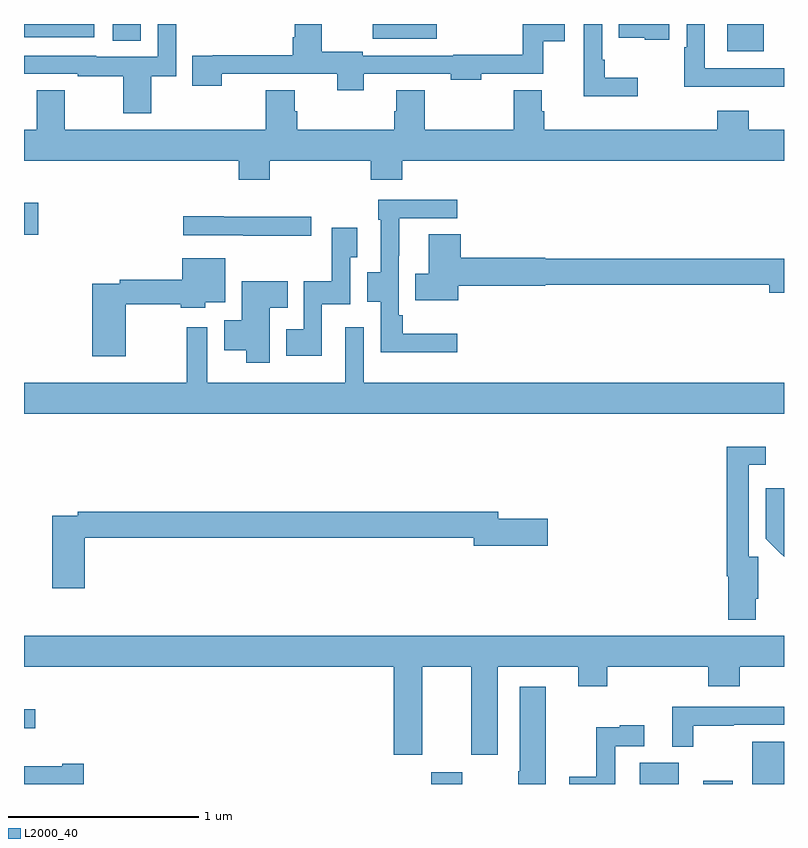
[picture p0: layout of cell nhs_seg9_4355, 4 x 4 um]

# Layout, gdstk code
import gdstk
lib = gdstk.Library(unit=1e-6, precision=1e-09)
def R(c, l, rs):  # rectangles x0, y0, x1, y1
    for r in rs: c.add(gdstk.rectangle(r[:2], r[2:], *l))
def P(c, l, *ps):  # polygons
    for p in ps: c.add(gdstk.Polygon(p, *l))
L2000_40 = (2000, 40)

nhs_seg9_4355 = lib.new_cell('nhs_seg9_4355')
R(nhs_seg9_4355, L2000_40, [(363.143,1166.5,363.307,1166.563), (364.241,1166.5,364.447,1166.611), (364.575,1166.5,364.729,1166.518), (364.832,1166.5,365,1166.722), (361,1166.793,361.06,1166.893), (361,1169.39,361.075,1169.56), (364.7,1170.356,364.894,1170.5), (361.467,1170.412,361.614,1170.5), (362.835,1170.423,363.172,1170.5), (361,1170.429,361.369,1170.5)])
P(nhs_seg9_4355, L2000_40, [(362.788,1170.237),(363.247,1170.237),(363.247,1170.206),(363.407,1170.206),(363.407,1170.237),(363.734,1170.237),(363.734,1170.41),(363.847,1170.41),(363.847,1170.5),(363.624,1170.5),(363.624,1170.338),(363.258,1170.338),(363.258,1170.333),(362.784,1170.333),(362.784,1170.353),(362.566,1170.353),(362.566,1170.5),(362.426,1170.5),(362.426,1170.43),(362.414,1170.43),(362.414,1170.335),(361.993,1170.335),(361.993,1170.333),(361.885,1170.333),(361.885,1170.174),(362.042,1170.174),(362.042,1170.237),(362.648,1170.237),(362.648,1170.152),(362.788,1170.152)],
  [(364.231,1170.218),(364.057,1170.218),(364.057,1170.313),(364.044,1170.313),(364.044,1170.5),(363.947,1170.5),(363.947,1170.119),(364.231,1170.119)],
  [(361.669,1170.226),(361.8,1170.226),(361.8,1170.5),(361.704,1170.5),(361.704,1170.327),(361.38,1170.327),(361.38,1170.333),(361,1170.333),(361,1170.237),(361.284,1170.237),(361.284,1170.226),(361.522,1170.226),(361.522,1170.03),(361.669,1170.03)],
  [(365,1170.267),(364.584,1170.267),(364.584,1170.5),(364.488,1170.5),(364.488,1170.378),(364.476,1170.378),(364.476,1170.171),(364.897,1170.171),(364.897,1170.169),(365,1170.169)],
  [(364.395,1170.5),(364.131,1170.5),(364.131,1170.428),(364.268,1170.428),(364.268,1170.417),(364.395,1170.417)],
  [(362.294,1169.78),(362.825,1169.78),(362.825,1169.681),(362.99,1169.681),(362.99,1169.78),(365,1169.78),(365,1169.944),(364.814,1169.944),(364.814,1170.043),(364.649,1170.043),(364.649,1169.944),(363.737,1169.944),(363.737,1170.042),(363.724,1170.042),(363.724,1170.152),(363.577,1170.152),(363.577,1169.944),(363.108,1169.944),(363.108,1170.152),(362.96,1170.152),(362.96,1170.042),(362.948,1170.042),(362.948,1169.944),(362.438,1169.944),(362.438,1170.042),(362.425,1170.042),(362.425,1170.152),(362.273,1170.152),(362.273,1169.944),(361.215,1169.944),(361.215,1170.151),(361.067,1170.151),(361.067,1169.944),(361,1169.944),(361,1169.78),(362.129,1169.78),(362.129,1169.681),(362.294,1169.681)],
  [(363.28,1168.87),(362.993,1168.87),(362.993,1168.966),(362.973,1168.966),(362.973,1169.281),(362.974,1169.281),(362.974,1169.478),(363.28,1169.478),(363.28,1169.574),(362.865,1169.574),(362.865,1169.471),(362.877,1169.471),(362.877,1169.193),(362.807,1169.193),(362.807,1169.038),(362.877,1169.038),(362.877,1168.772),(363.28,1168.772)],
  [(362.512,1169.486),(362.051,1169.486),(362.051,1169.489),(361.839,1169.489),(361.839,1169.388),(362.155,1169.388),(362.155,1169.386),(362.512,1169.386)],
  [(362.568,1169.024),(362.718,1169.024),(362.718,1169.272),(362.755,1169.272),(362.755,1169.428),(362.62,1169.428),(362.62,1169.146),(362.472,1169.146),(362.472,1168.894),(362.379,1168.894),(362.379,1168.754),(362.568,1168.754)],
  [(363.286,1169.123),(363.744,1169.123),(363.744,1169.128),(364.922,1169.128),(364.922,1169.086),(365,1169.086),(365,1169.264),(363.744,1169.264),(363.744,1169.27),(363.299,1169.27),(363.299,1169.393),(363.131,1169.393),(363.131,1169.185),(363.058,1169.185),(363.058,1169.045),(363.286,1169.045)],
  [(361.536,1169.025),(361.825,1169.025),(361.825,1169.006),(361.954,1169.006),(361.954,1169.036),(362.059,1169.036),(362.059,1169.266),(361.832,1169.266),(361.832,1169.153),(361.504,1169.153),(361.504,1169.133),(361.358,1169.133),(361.358,1168.752),(361.536,1168.752)],
  [(362.293,1169.006),(362.387,1169.006),(362.387,1169.146),(362.147,1169.146),(362.147,1168.942),(362.054,1168.942),(362.054,1168.784),(362.171,1168.784),(362.171,1168.716),(362.293,1168.716)],
  [(365,1168.612),(362.787,1168.612),(362.787,1168.903),(362.691,1168.903),(362.691,1168.612),(361.965,1168.612),(361.965,1168.903),(361.857,1168.903),(361.857,1168.612),(361,1168.612),(361,1168.448),(365,1168.448)],
  [(364.852,1167.475),(364.865,1167.475),(364.865,1167.696),(364.815,1167.696),(364.815,1168.179),(364.903,1168.179),(364.903,1168.276),(364.699,1168.276),(364.699,1167.593),(364.706,1167.593),(364.706,1167.365),(364.852,1167.365)],
  [(365,1168.057),(364.904,1168.057),(364.904,1167.792),(364.978,1167.718),(364.978,1167.717),(365,1167.695)],
  [(361.319,1167.796),(363.368,1167.796),(363.368,1167.754),(363.757,1167.754),(363.757,1167.896),(363.496,1167.896),(363.496,1167.932),(361.282,1167.932),(361.282,1167.912),(361.148,1167.912),(361.148,1167.531),(361.319,1167.531)],
  [(363.097,1167.116),(363.353,1167.116),(363.353,1166.655),(363.493,1166.655),(363.493,1167.116),(363.917,1167.116),(363.917,1167.014),(364.07,1167.014),(364.07,1167.116),(364.601,1167.116),(364.601,1167.014),(364.766,1167.014),(364.766,1167.116),(365,1167.116),(365,1167.28),(361,1167.28),(361,1167.116),(362.945,1167.116),(362.945,1166.655),(363.097,1166.655)],
  [(363.745,1167.013),(363.608,1167.013),(363.608,1166.567),(363.601,1166.567),(363.601,1166.5),(363.745,1166.5)],
  [(364.522,1166.806),(364.736,1166.806),(364.736,1166.811),(365,1166.811),(365,1166.907),(364.412,1166.907),(364.412,1166.696),(364.522,1166.696)],
  [(364.113,1166.7),(364.264,1166.7),(364.264,1166.809),(364.136,1166.809),(364.136,1166.798),(364.012,1166.798),(364.012,1166.538),(363.87,1166.538),(363.87,1166.5),(364.113,1166.5)],
  [(361.315,1166.606),(361.202,1166.606),(361.202,1166.593),(361,1166.593),(361,1166.5),(361.315,1166.5)])

lib.write_gds('nhs_seg9_4355.gds')
